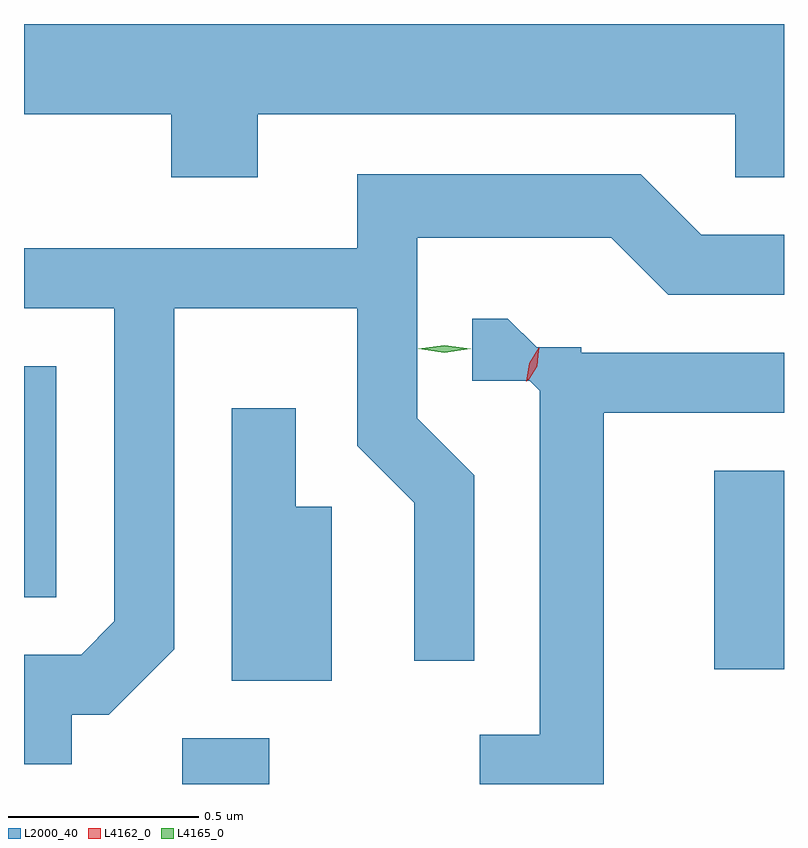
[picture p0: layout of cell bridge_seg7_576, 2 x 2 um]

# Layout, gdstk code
import gdstk
lib = gdstk.Library(unit=1e-6, precision=1e-09)
def R(c, l, rs):  # rectangles x0, y0, x1, y1
    for r in rs: c.add(gdstk.rectangle(r[:2], r[2:], *l))
def P(c, l, *ps):  # polygons
    for p in ps: c.add(gdstk.Polygon(p, *l))
L2000_40 = (2000, 40)
L4162_0 = (4162, 0)
L4165_0 = (4165, 0)

bridge_seg7_576 = lib.new_cell('bridge_seg7_576')
R(bridge_seg7_576, L2000_40, [(1032.431,1761.394,1032.659,1761.514), (1033.831,1761.696,1034.014,1762.219), (1032.014,1761.886,1032.099,1762.494)])
P(bridge_seg7_576, L2000_40, [(1032.629,1763.156),(1033.886,1763.156),(1033.886,1762.991),(1034.014,1762.991),(1034.014,1763.394),(1032.014,1763.394),(1032.014,1763.156),(1032.401,1763.156),(1032.401,1762.991),(1032.629,1762.991)],
  [(1032.139,1761.576),(1032.237,1761.576),(1032.409,1761.749),(1032.409,1762.646),(1032.891,1762.646),(1032.891,1762.284),(1033.041,1762.134),(1033.041,1761.718),(1033.199,1761.718),(1033.199,1762.207),(1033.049,1762.357),(1033.049,1762.831),(1033.559,1762.831),(1033.709,1762.681),(1034.014,1762.681),(1034.014,1762.839),(1033.796,1762.839),(1033.637,1762.999),(1032.891,1762.999),(1032.891,1762.804),(1032.014,1762.804),(1032.014,1762.646),(1032.251,1762.646),(1032.251,1761.822),(1032.164,1761.734),(1032.014,1761.734),(1032.014,1761.446),(1032.139,1761.446)],
  [(1033.539,1762.371),(1034.014,1762.371),(1034.014,1762.529),(1033.48,1762.529),(1033.48,1762.543),(1033.363,1762.543),(1033.287,1762.618),(1033.193,1762.618),(1033.193,1762.455),(1033.345,1762.455),(1033.371,1762.429),(1033.371,1761.524),(1033.213,1761.524),(1033.213,1761.394),(1033.539,1761.394)],
  [(1032.824,1762.124),(1032.729,1762.124),(1032.729,1762.383),(1032.561,1762.383),(1032.561,1761.666),(1032.824,1761.666)])
P(bridge_seg7_576, L4162_0, [(1033.341,1762.458),(1033.341,1762.458),(1033.346,1762.5),(1033.368,1762.536),(1033.368,1762.537),(1033.369,1762.536),(1033.364,1762.494),(1033.342,1762.458)],
  [(1033.336,1762.454),(1033.336,1762.454),(1033.344,1762.501),(1033.369,1762.542),(1033.37,1762.542),(1033.37,1762.541),(1033.362,1762.494),(1033.337,1762.454)])
P(bridge_seg7_576, L4165_0, [(1033.12,1762.529),(1033.051,1762.539),(1033.051,1762.539),(1033.051,1762.54),(1033.12,1762.549),(1033.19,1762.54),(1033.19,1762.539),(1033.19,1762.539)])

lib.write_gds('bridge_seg7_576.gds')
